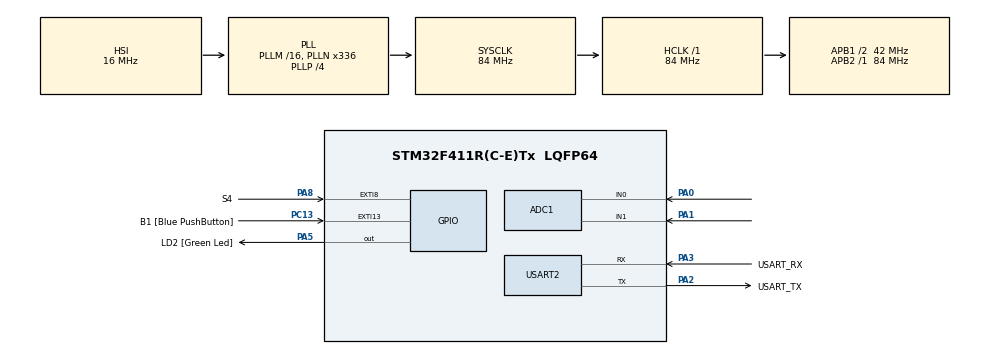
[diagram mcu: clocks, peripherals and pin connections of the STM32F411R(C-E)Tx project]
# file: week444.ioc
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ADC1.Channel-0\#ChannelRegularConversion=ADC_CHANNEL_0
ADC1.Channel-1\#ChannelRegularConversion=ADC_CHANNEL_1
ADC1.Channel-2\#ChannelRegularConversion=ADC_CHANNEL_TEMPSENSOR
ADC1.Channel-3\#ChannelRegularConversion=ADC_CHANNEL_VREFINT
ADC1.ContinuousConvMode=ENABLE
ADC1.DMAContinuousRequests=ENABLE
ADC1.EOCSelection=ADC_EOC_SEQ_CONV
ADC1.NbrOfConversion=4
ADC1.NbrOfConversionFlag=1
ADC1.Rank-0\#ChannelRegularConversion=1
ADC1.Rank-1\#ChannelRegularConversion=2
ADC1.Rank-2\#ChannelRegularConversion=3
ADC1.Rank-3\#ChannelRegularConversion=4
ADC1.SamplingTime-0\#ChannelRegularConversion=ADC_SAMPLETIME_480CYCLES
ADC1.SamplingTime-1\#ChannelRegularConversion=ADC_SAMPLETIME_480CYCLES
ADC1.SamplingTime-2\#ChannelRegularConversion=ADC_SAMPLETIME_480CYCLES
ADC1.SamplingTime-3\#ChannelRegularConversion=ADC_SAMPLETIME_480CYCLES
ADC1.ScanConvMode=ENABLE
ADC1.master=1
Dma.ADC1.0.Direction=DMA_PERIPH_TO_MEMORY
Dma.ADC1.0.FIFOMode=DMA_FIFOMODE_DISABLE
Dma.ADC1.0.Instance=DMA2_Stream0
Dma.ADC1.0.MemDataAlignment=DMA_MDATAALIGN_WORD
Dma.ADC1.0.MemInc=DMA_MINC_ENABLE
Dma.ADC1.0.Mode=DMA_CIRCULAR
Dma.ADC1.0.PeriphDataAlignment=DMA_PDATAALIGN_WORD
Dma.ADC1.0.PeriphInc=DMA_PINC_DISABLE
Dma.ADC1.0.Priority=DMA_PRIORITY_LOW
Dma.Request0=ADC1
Mcu.Family=STM32F4
Mcu.Name=STM32F411R(C-E)Tx
Mcu.Package=LQFP64
NVIC.DMA2_Stream0_IRQn=true\:0\:0\:false\:false\:true\:false\:true
NVIC.EXTI9_5_IRQn=true\:0\:0\:false\:false\:true\:true\:true
NVIC.PriorityGroup=NVIC_PRIORITYGROUP_0
PA0-WKUP.Signal=ADCx_IN0
PA1.Signal=ADCx_IN1
PA13.GPIO_Label=TMS
PA13.Mode=Serial_Wire
PA13.Signal=SYS_JTMS-SWDIO
PA14.GPIO_Label=TCK
PA14.Mode=Serial_Wire
PA14.Signal=SYS_JTCK-SWCLK
PA2.GPIO_Label=USART_TX
PA2.Mode=Asynchronous
PA2.Signal=USART2_TX
PA3.GPIO_Label=USART_RX
PA3.Mode=Asynchronous
PA3.Signal=USART2_RX
PA5.GPIO_Label=LD2 [Green Led]
PA5.Signal=GPIO_Output
PA8.GPIO_Label=S4
PA8.GPIO_ModeDefaultEXTI=GPIO_MODE_IT_RISING_FALLING
PA8.GPIO_PuPd=GPIO_PULLUP
PA8.Signal=GPXTI8
PB3.GPIO_Label=SWO
PB3.Signal=SYS_JTDO-SWO
PC13-ANTI_TAMP.GPIO_Label=B1 [Blue PushButton]
PC13-ANTI_TAMP.GPIO_ModeDefaultEXTI=GPIO_MODE_IT_RISING
PC13-ANTI_TAMP.GPIO_PuPd=GPIO_PULLUP
PC13-ANTI_TAMP.Signal=GPXTI13
PC14-OSC32_IN.Mode=LSE-External-Oscillator
PC14-OSC32_IN.Signal=RCC_OSC32_IN
PC15-OSC32_OUT.Mode=LSE-External-Oscillator
PC15-OSC32_OUT.Signal=RCC_OSC32_OUT
PH0\ -\ OSC_IN.Mode=HSE-External-Clock-Source
PH0\ -\ OSC_IN.Signal=RCC_OSC_IN
PH1\ -\ OSC_OUT.Mode=HSE-External-Clock-Source
PH1\ -\ OSC_OUT.Signal=RCC_OSC_OUT
ProjectManager.HeapSize=0x200
ProjectManager.StackSize=0x400
ProjectManager.TargetToolchain=STM32CubeIDE
RCC.48MHZClocksFreq_Value=84000000
RCC.AHBFreq_Value=84000000
RCC.APB1CLKDivider=RCC_HCLK_DIV2
RCC.APB1Freq_Value=42000000
RCC.APB1TimFreq_Value=84000000
RCC.APB2Freq_Value=84000000
RCC.APB2TimFreq_Value=84000000
RCC.CortexFreq_Value=84000000
RCC.FLatency-AdvancedSettings=FLASH_LATENCY_2
RCC.HCLKFreq_Value=84000000
RCC.HSE_VALUE=8000000
RCC.HSI_VALUE=16000000
RCC.PLLN=336
RCC.PLLP=RCC_PLLP_DIV4
RCC.SYSCLKFreq_VALUE=84000000
RCC.SYSCLKSource=RCC_SYSCLKSOURCE_PLLCLK
RCC.VCOOutputFreq_Value=336000000
SH.ADCx_IN0.0=ADC1_IN0,IN0
SH.ADCx_IN1.0=ADC1_IN1,IN1
USART2.VirtualMode=VM_ASYNC
VP_ADC1_TempSens_Input.Mode=IN-TempSens
VP_ADC1_Vref_Input.Mode=IN-Vrefint
board=NUCLEO-F411RE

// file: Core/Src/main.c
/* USER CODE BEGIN Header */
/**
 ******************************************************************************
 * @file           : main.c
 * @brief          : Main program body
 ******************************************************************************
 * @attention
 *
 * <h2><center>&copy; Copyright (c) 2021 STMicroelectronics.
 * All rights reserved.</center></h2>
 *
 * This software component is licensed by ST under BSD 3-Clause license,
 * the "License"; You may not use this file except in compliance with the
 * License. You may obtain a copy of the License at:
 *                        opensource.org/licenses/BSD-3-Clause
 *
 ******************************************************************************
 */
/* USER CODE END Header */
#include "main.h"

ADC_HandleTypeDef hadc1;
DMA_HandleTypeDef hdma_adc1;

UART_HandleTypeDef huart2;

/* USER CODE BEGIN PV */
uint32_t ADCData[4] = { 0 };
uint32_t TimeTime = 0;
uint32_t Random = 0;
uint32_t Time = 0;
uint32_t TimeResponse = 0;
uint32_t Button = 0;
int i = 0;
int a = 0;
int check = 0;
/* USER CODE END PV */

void SystemClock_Config(void);
static void MX_GPIO_Init(void);
static void MX_DMA_Init(void);
static void MX_USART2_UART_Init(void);
static void MX_ADC1_Init(void);

int main(void) {

	/* MCU Configuration--------------------------------------------------------*/

	/* Reset of all peripherals, Initializes the Flash interface and the Systick. */
	HAL_Init();

	/* Configure the system clock */
	SystemClock_Config();

	/* Initialize all configured peripherals */
	MX_GPIO_Init();
	MX_DMA_Init();
	MX_USART2_UART_Init();
	MX_ADC1_Init();
	/* USER CODE BEGIN 2 */
	HAL_ADC_Start_DMA(&hadc1, ADCData, 4);
	HAL_GPIO_WritePin(GPIOA, GPIO_PIN_5, GPIO_PIN_SET);
	/* USER CODE END 2 */

	/* Infinite loop */
	/* USER CODE BEGIN WHILE */

	while (1) {
		Button = HAL_GPIO_ReadPin(GPIOA, GPIO_PIN_8);
		if (HAL_GetTick() >= TimeTime + Random) {
			if (Button == 1 && i == 1) {
				Time = HAL_GetTick();
				HAL_GPIO_TogglePin(LD2_GPIO_Port, LD2_Pin);
				i = 2;
			}
			else if (Button == 0 && i == 1) {
				i = 0;
			} else if (Button == 0 && i == 2) {
				TimeResponse = HAL_GetTick() - Time;
				i = 0;
			}
		}

		/* USER CODE END WHILE */

	}
}

void SystemClock_Config(void) {
	RCC_OscInitTypeDef RCC_OscInitStruct = { 0 };
	RCC_ClkInitTypeDef RCC_ClkInitStruct = { 0 };

	/** Configure the main internal regulator output voltage
	 */
	__HAL_RCC_PWR_CLK_ENABLE();
	__HAL_PWR_VOLTAGESCALING_CONFIG(PWR_REGULATOR_VOLTAGE_SCALE1);
	/** Initializes the RCC Oscillators according to the specified parameters
	 * in the RCC_OscInitTypeDef structure.
	 */
	RCC_OscInitStruct.OscillatorType = RCC_OSCILLATORTYPE_HSI;
	RCC_OscInitStruct.HSIState = RCC_HSI_ON;
	RCC_OscInitStruct.HSICalibrationValue = RCC_HSICALIBRATION_DEFAULT;
	RCC_OscInitStruct.PLL.PLLState = RCC_PLL_ON;
	RCC_OscInitStruct.PLL.PLLSource = RCC_PLLSOURCE_HSI;
	RCC_OscInitStruct.PLL.PLLM = 16;
	RCC_OscInitStruct.PLL.PLLN = 336;
	RCC_OscInitStruct.PLL.PLLP = RCC_PLLP_DIV4;
	RCC_OscInitStruct.PLL.PLLQ = 4;
	if (HAL_RCC_OscConfig(&RCC_OscInitStruct) != HAL_OK) {
		Error_Handler();
	}
	/** Initializes the CPU, AHB and APB buses clocks
	 */
	RCC_ClkInitStruct.ClockType = RCC_CLOCKTYPE_HCLK | RCC_CLOCKTYPE_SYSCLK
			| RCC_CLOCKTYPE_PCLK1 | RCC_CLOCKTYPE_PCLK2;
	RCC_ClkInitStruct.SYSCLKSource = RCC_SYSCLKSOURCE_PLLCLK;
	RCC_ClkInitStruct.AHBCLKDivider = RCC_SYSCLK_DIV1;
	RCC_ClkInitStruct.APB1CLKDivider = RCC_HCLK_DIV2;
	RCC_ClkInitStruct.APB2CLKDivider = RCC_HCLK_DIV1;

	if (HAL_RCC_ClockConfig(&RCC_ClkInitStruct, FLASH_LATENCY_2) != HAL_OK) {
		Error_Handler();
	}
}

static void MX_ADC1_Init(void) {

	ADC_ChannelConfTypeDef sConfig = { 0 };

	/** Configure the global features of the ADC (Clock, Resolution, Data Alignment and number of conversion)
	 */
	hadc1.Instance = ADC1;
	hadc1.Init.ClockPrescaler = ADC_CLOCK_SYNC_PCLK_DIV4;
	hadc1.Init.Resolution = ADC_RESOLUTION_12B;
	hadc1.Init.ScanConvMode = ENABLE;
	hadc1.Init.ContinuousConvMode = ENABLE;
	hadc1.Init.DiscontinuousConvMode = DISABLE;
	hadc1.Init.ExternalTrigConvEdge = ADC_EXTERNALTRIGCONVEDGE_NONE;
	hadc1.Init.ExternalTrigConv = ADC_SOFTWARE_START;
	hadc1.Init.DataAlign = ADC_DATAALIGN_RIGHT;
	hadc1.Init.NbrOfConversion = 4;
	hadc1.Init.DMAContinuousRequests = ENABLE;
	hadc1.Init.EOCSelection = ADC_EOC_SEQ_CONV;
	if (HAL_ADC_Init(&hadc1) != HAL_OK) {
		Error_Handler();
	}
	/** Configure for the selected ADC regular channel its corresponding rank in the sequencer and its sample time.
	 */
	sConfig.Channel = ADC_CHANNEL_0;
	sConfig.Rank = 1;
	sConfig.SamplingTime = ADC_SAMPLETIME_480CYCLES;
	if (HAL_ADC_ConfigChannel(&hadc1, &sConfig) != HAL_OK) {
		Error_Handler();
	}
	/** Configure for the selected ADC regular channel its corresponding rank in the sequencer and its sample time.
	 */
	sConfig.Channel = ADC_CHANNEL_1;
	sConfig.Rank = 2;
	if (HAL_ADC_ConfigChannel(&hadc1, &sConfig) != HAL_OK) {
		Error_Handler();
	}
	/** Configure for the selected ADC regular channel its corresponding rank in the sequencer and its sample time.
	 */
	sConfig.Channel = ADC_CHANNEL_TEMPSENSOR;
	sConfig.Rank = 3;
	if (HAL_ADC_ConfigChannel(&hadc1, &sConfig) != HAL_OK) {
		Error_Handler();
	}
	/** Configure for the selected ADC regular channel its corresponding rank in the sequencer and its sample time.
	 */
	sConfig.Channel = ADC_CHANNEL_VREFINT;
	sConfig.Rank = 4;
	if (HAL_ADC_ConfigChannel(&hadc1, &sConfig) != HAL_OK) {
		Error_Handler();
	}

}

static void MX_USART2_UART_Init(void) {

	huart2.Instance = USART2;
	huart2.Init.BaudRate = 115200;
	huart2.Init.WordLength = UART_WORDLENGTH_8B;
	huart2.Init.StopBits = UART_STOPBITS_1;
	huart2.Init.Parity = UART_PARITY_NONE;
	huart2.Init.Mode = UART_MODE_TX_RX;
	huart2.Init.HwFlowCtl = UART_HWCONTROL_NONE;
	huart2.Init.OverSampling = UART_OVERSAMPLING_16;
	if (HAL_UART_Init(&huart2) != HAL_OK) {
		Error_Handler();
	}

}

static void MX_DMA_Init(void) {

	/* DMA controller clock enable */
	__HAL_RCC_DMA2_CLK_ENABLE();

	/* DMA interrupt init */
	/* DMA2_Stream0_IRQn interrupt configuration */
	HAL_NVIC_SetPriority(DMA2_Stream0_IRQn, 0, 0);
	HAL_NVIC_EnableIRQ(DMA2_Stream0_IRQn);

}

static void MX_GPIO_Init(void) {
	GPIO_InitTypeDef GPIO_InitStruct = { 0 };

	/* GPIO Ports Clock Enable */
	__HAL_RCC_GPIOC_CLK_ENABLE();
	__HAL_RCC_GPIOH_CLK_ENABLE();
	__HAL_RCC_GPIOA_CLK_ENABLE();
	__HAL_RCC_GPIOB_CLK_ENABLE();

	/*Configure GPIO pin Output Level */
	HAL_GPIO_WritePin(LD2_GPIO_Port, LD2_Pin, GPIO_PIN_RESET);

	/*Configure GPIO pin : B1_Pin */
	GPIO_InitStruct.Pin = B1_Pin;
	GPIO_InitStruct.Mode = GPIO_MODE_IT_RISING;
	GPIO_InitStruct.Pull = GPIO_PULLUP;
	HAL_GPIO_Init(B1_GPIO_Port, &GPIO_InitStruct);

	/*Configure GPIO pin : LD2_Pin */
	GPIO_InitStruct.Pin = LD2_Pin;
	GPIO_InitStruct.Mode = GPIO_MODE_OUTPUT_PP;
	GPIO_InitStruct.Pull = GPIO_NOPULL;
	GPIO_InitStruct.Speed = GPIO_SPEED_FREQ_LOW;
	HAL_GPIO_Init(LD2_GPIO_Port, &GPIO_InitStruct);

	/*Configure GPIO pin : S4_Pin */
	GPIO_InitStruct.Pin = S4_Pin;
	GPIO_InitStruct.Mode = GPIO_MODE_IT_RISING_FALLING;
	GPIO_InitStruct.Pull = GPIO_PULLUP;
	HAL_GPIO_Init(S4_GPIO_Port, &GPIO_InitStruct);

	/* EXTI interrupt init*/
	HAL_NVIC_SetPriority(EXTI9_5_IRQn, 0, 0);
	HAL_NVIC_EnableIRQ(EXTI9_5_IRQn);

}

/* USER CODE BEGIN 4 */
void HAL_GPIO_EXTI_Callback(uint16_t GPIO_Pin) {
	if (GPIO_Pin == GPIO_PIN_8 && i == 0) {
		TimeResponse = 0;
		HAL_GPIO_TogglePin(LD2_GPIO_Port, LD2_Pin);
		TimeTime = HAL_GetTick();
		Random = (HAL_GetTick() - TimeTime)
				+ (1000 + ((22695477 * ADCData[0]) + ADCData[1]) % 10000);
		i = 1;
	}
}

/* USER CODE END 4 */

void Error_Handler(void) {
	__disable_irq();
	while (1) {
	}
}

/************************ (C) COPYRIGHT STMicroelectronics *****END OF FILE****/
